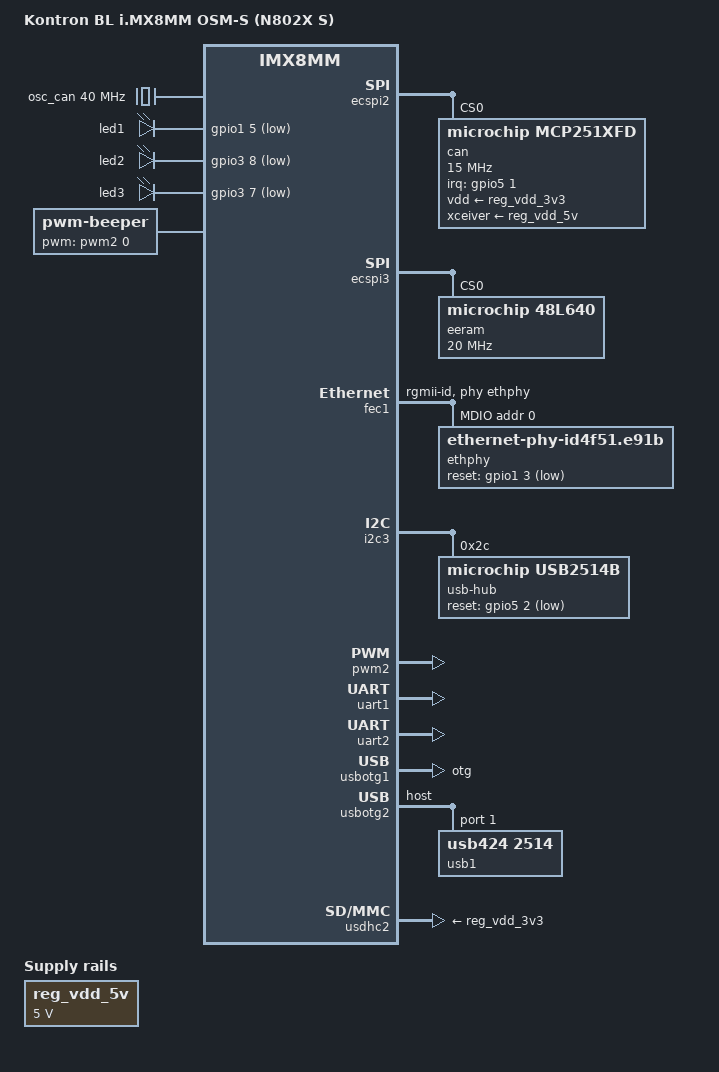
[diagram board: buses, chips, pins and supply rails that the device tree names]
// SPDX-License-Identifier: GPL-2.0+ OR MIT
/*
 * Copyright (C) 2022 Kontron Electronics GmbH
 */

/dts-v1/;

#include "imx8mm-kontron-osm-s.dtsi"

/ {
	model = "Kontron BL i.MX8MM OSM-S (N802X S)";
	compatible = "kontron,imx8mm-bl-osm-s", "kontron,imx8mm-osm-s", "fsl,imx8mm";

	aliases {
		ethernet1 = &usbnet;
	};

	/* fixed crystal dedicated to mcp2542fd */
	osc_can: clock-osc-can {
		compatible = "fixed-clock";
		#clock-cells = <0>;
		clock-frequency = <40000000>;
		clock-output-names = "osc-can";
	};

	leds {
		compatible = "gpio-leds";

		led1 {
			label = "led1";
			gpios = <&gpio1 5 GPIO_ACTIVE_LOW>;
			linux,default-trigger = "heartbeat";
		};

		led2 {
			label = "led2";
			gpios = <&gpio3 8 GPIO_ACTIVE_LOW>;
		};

		led3 {
			label = "led3";
			gpios = <&gpio3 7 GPIO_ACTIVE_LOW>;
		};
	};

	pwm-beeper {
		compatible = "pwm-beeper";
		pwms = <&pwm2 0 5000 0>;
	};

	reg_vdd_5v: regulator-5v {
		compatible = "regulator-fixed";
		regulator-always-on;
		regulator-min-microvolt = <5000000>;
		regulator-max-microvolt = <5000000>;
		regulator-name = "vdd-5v";
	};
};

&ecspi2 {
	status = "okay";

	can@0 {
		compatible = "microchip,mcp251xfd";
		reg = <0>;
		pinctrl-names = "default";
		pinctrl-0 = <&pinctrl_can>;
		clocks = <&osc_can>;
		interrupts-extended = <&gpio5 1 IRQ_TYPE_LEVEL_LOW>;
		/*
		 * Limit the SPI clock to 15 MHz to prevent issues
		 * with corrupted data due to chip errata.
		 */
		spi-max-frequency = <15000000>;
		vdd-supply = <&reg_vdd_3v3>;
		xceiver-supply = <&reg_vdd_5v>;
	};
};

&ecspi3 {
	status = "okay";

	eeram@0 {
		compatible = "microchip,48l640";
		reg = <0>;
		spi-max-frequency = <20000000>;
	};
};

&fec1 {
	pinctrl-names = "default";
	pinctrl-0 = <&pinctrl_enet_rgmii>;
	phy-connection-type = "rgmii-id";
	phy-handle = <&ethphy>;
	status = "okay";

	mdio {
		#address-cells = <1>;
		#size-cells = <0>;

		ethphy: ethernet-phy@0 {
			compatible = "ethernet-phy-id4f51.e91b";
			reg = <0>;
			reset-assert-us = <10000>;
			reset-gpios = <&gpio1 3 GPIO_ACTIVE_LOW>;
		};
	};
};

/*
 * Rename SoM signals according to board usage:
 *   GPIO_B_0      -> DIO1_OUT
 *   GPIO_B_1      -> DIO2_OUT
 */
&gpio1 {
	gpio-line-names = "", "GPIO_A_0", "", "GPIO_A_1",
			  "", "GPIO_A_2", "GPIO_A_3", "GPIO_A_4",
			  "GPIO_A_5", "GPIO_A_6", "GPIO_A_7", "DIO1_OUT",
			  "DIO2_OUT", "USB_A_OC#", "CAM_MCK", "USB_B_OC#",
			  "ETH_MDC", "ETH_MDIO", "ETH_A_(S)(R)(G)MII_TXD3",
			  "ETH_A_(S)(R)(G)MII_TXD2", "ETH_A_(S)(R)(G)MII_TXD1",
			  "ETH_A_(S)(R)(G)MII_TXD0", "ETH_A_(R)(G)MII_TX_EN(_ER)",
			  "ETH_A_(R)(G)MII_TX_CLK", "ETH_A_(R)(G)MII_RX_DV(_ER)",
			  "ETH_A_(R)(G)MII_RX_CLK", "ETH_A_(S)(R)(G)MII_RXD0",
			  "ETH_A_(S)(R)(G)MII_RXD1", "ETH_A_(R)(G)MII_RXD2",
			  "ETH_A_(R)(G)MII_RXD3";
};

/*
 * Rename SoM signals according to board usage:
 *   GPIO_B_2      -> DIO3_OUT
 *   GPIO_B_3      -> DIO4_OUT
 */
&gpio3 {
	gpio-line-names = "GPIO_C_5", "GPIO_C_4", "SDIO_B_CD#", "SDIO_B_D5",
			  "SDIO_B_D6", "SDIO_B_D7", "GPIO_C_0", "GPIO_C_1",
			  "GPIO_C_2", "GPIO_C_3", "SDIO_B_D0", "SDIO_B_D1",
			  "SDIO_B_D2", "SDIO_B_D3", "", "SDIO_B_D4",
			  "CARRIER_PWR_EN", "SDIO_B_CLK", "SDIO_B_CMD", "DIO3_OUT",
			  "USB_B_EN", "DIO4_OUT", "PCIe_CLKREQ#", "PCIe_A_PERST#",
			  "PCIe_WAKE#", "USB_A_EN";
};

/*
 * Rename SoM signals according to board usage:
 *   GPIO_B_4      -> DIO1_IN
 *   GPIO_B_5      -> DIO2_IN
 *   GPIO_B_6      -> DIO3_IN
 *   GPIO_B_7      -> DIO4_IN
 */
&gpio4 {
	gpio-line-names = "GPIO_C_7", "", "I2S_A_DATA_IN", "I2S_B_DATA_IN",
			  "DIO1_IN", "BOOT_SEL0#", "BOOT_SEL1#", "",
			  "", "", "I2S_LRCLK", "I2S_BITCLK",
			  "I2S_A_DATA_OUT", "I2S_B_DATA_OUT", "DIO2_IN", "DIO3_IN",
			  "DIO4_IN", "SPI_A_/WP_(IO2)", "SPI_A_/HOLD_(IO3)", "GPIO_C_6",
			  "I2S_MCLK", "UART_A_TX", "UART_A_RX", "UART_A_CTS",
			  "UART_A_RTS", "", "", "",
			  "PCIe_SM_ALERT", "UART_B_RTS", "UART_B_CTS", "UART_B_RX";
};

&i2c3 {
	status = "okay";

	usb-hub@2c {
		compatible = "microchip,usb2514b";
		pinctrl-names = "default";
		pinctrl-0 = <&pinctrl_usb_hub>;
		reg = <0x2c>;
		non-removable-ports = <0>, <3>;
		reset-gpios = <&gpio5 2 GPIO_ACTIVE_LOW>;
	};
};

&pwm2 {
	status = "okay";
};

&reg_usb2_vbus {
	status = "disabled";
};

&reg_usdhc2_vcc {
	status = "disabled";
};

&reg_usdhc3_vcc {
	status = "disabled";
};

&uart1 {
	uart-has-rtscts;
	status = "okay";
};

&uart2 {
	linux,rs485-enabled-at-boot-time;
	uart-has-rtscts;
	status = "okay";
};

&usbotg1 {
	dr_mode = "otg";
	status = "okay";
};

&usbotg2 {
	dr_mode = "host";
	disable-over-current;
	#address-cells = <1>;
	#size-cells = <0>;
	status = "okay";

	/* VBUS is controlled by the hub */
	/delete-property/ vbus-supply;

	usb1@1 {
		compatible = "usb424,2514";
		reg = <1>;
		#address-cells = <1>;
		#size-cells = <0>;

		usbnet: ethernet@1 {
			compatible = "usbb95,772b";
			reg = <1>;
			local-mac-address = [ 00 00 00 00 00 00 ];
		};
	};
};

&usdhc2 {
	vmmc-supply = <&reg_vdd_3v3>;
	status = "okay";
};

&iomuxc {
	pinctrl_can: cangrp {
		fsl,pins = <
			MX8MM_IOMUXC_SAI3_TXD_GPIO5_IO1			0x19  /* SDIO_B_PWR_EN */
		>;
	};

	pinctrl_usb_hub: usbhubgrp {
		fsl,pins = <
			MX8MM_IOMUXC_SAI3_MCLK_GPIO5_IO2		0x19 /* SDIO_B_WP */
		>;
	};
};
